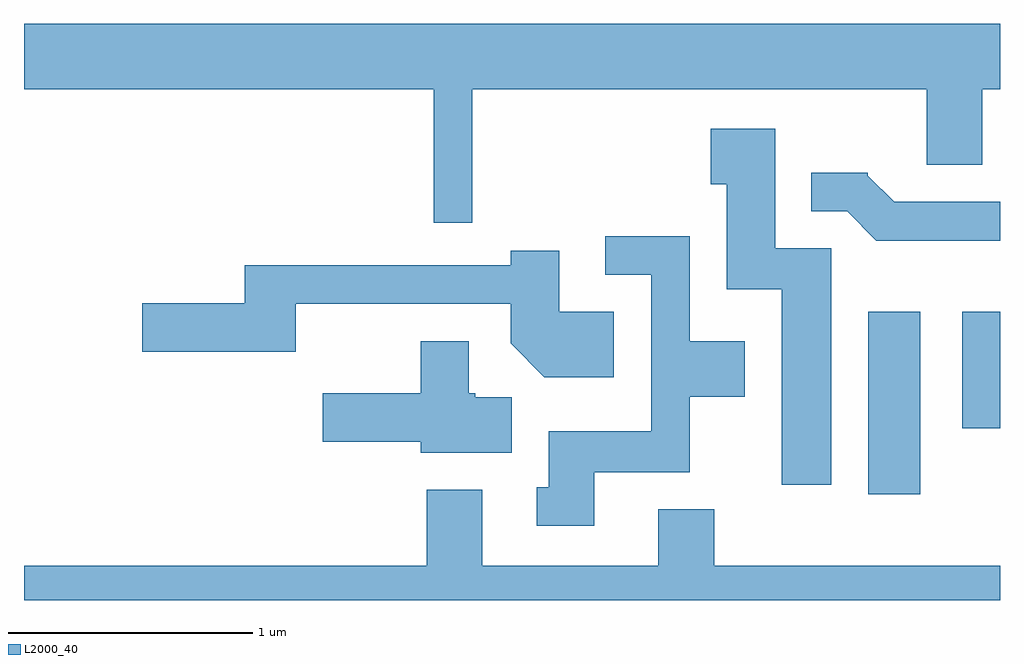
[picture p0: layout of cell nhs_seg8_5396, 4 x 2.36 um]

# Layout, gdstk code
import gdstk
lib = gdstk.Library(unit=1e-6, precision=1e-09)
def R(c, l, rs):  # rectangles x0, y0, x1, y1
    for r in rs: c.add(gdstk.rectangle(r[:2], r[2:], *l))
def P(c, l, *ps):  # polygons
    for p in ps: c.add(gdstk.Polygon(p, *l))
L2000_40 = (2000, 40)

nhs_seg8_5396 = lib.new_cell('nhs_seg8_5396')
R(nhs_seg8_5396, L2000_40, [(351.071,1814.776,351.284,1815.524), (351.456,1815.046,351.611,1815.524)])
P(nhs_seg8_5396, L2000_40, [(349.449,1816.436),(351.311,1816.436),(351.311,1816.126),(351.539,1816.126),(351.539,1816.436),(351.611,1816.436),(351.611,1816.704),(347.611,1816.704),(347.611,1816.436),(349.291,1816.436),(349.291,1815.888),(349.449,1815.888)],
  [(350.919,1815.784),(350.689,1815.784),(350.689,1816.274),(350.426,1816.274),(350.426,1816.046),(350.491,1816.046),(350.491,1815.616),(350.716,1815.616),(350.716,1814.816),(350.919,1814.816)],
  [(351.611,1815.974),(351.177,1815.974),(351.07,1816.081),(351.07,1816.094),(350.838,1816.094),(350.838,1815.936),(350.984,1815.936),(351.104,1815.816),(351.611,1815.816)],
  [(349.949,1814.866),(350.339,1814.866),(350.339,1815.176),(350.564,1815.176),(350.564,1815.404),(350.339,1815.404),(350.339,1815.834),(349.993,1815.834),(349.993,1815.676),(350.181,1815.676),(350.181,1815.034),(349.761,1815.034),(349.761,1814.804),(349.713,1814.804),(349.713,1814.646),(349.949,1814.646)],
  [(350.029,1815.524),(349.804,1815.524),(349.804,1815.774),(349.606,1815.774),(349.606,1815.714),(348.516,1815.714),(348.516,1815.559),(348.096,1815.559),(348.096,1815.361),(348.724,1815.361),(348.724,1815.556),(349.606,1815.556),(349.606,1815.394),(349.744,1815.256),(350.029,1815.256)],
  [(349.609,1815.174),(349.46,1815.174),(349.46,1815.189),(349.434,1815.189),(349.434,1815.404),(349.236,1815.404),(349.236,1815.189),(348.836,1815.189),(348.836,1814.991),(349.236,1814.991),(349.236,1814.946),(349.609,1814.946)],
  [(351.611,1814.484),(350.439,1814.484),(350.439,1814.714),(350.211,1814.714),(350.211,1814.484),(349.489,1814.484),(349.489,1814.794),(349.261,1814.794),(349.261,1814.484),(347.611,1814.484),(347.611,1814.342),(351.611,1814.342)])

lib.write_gds('nhs_seg8_5396.gds')
